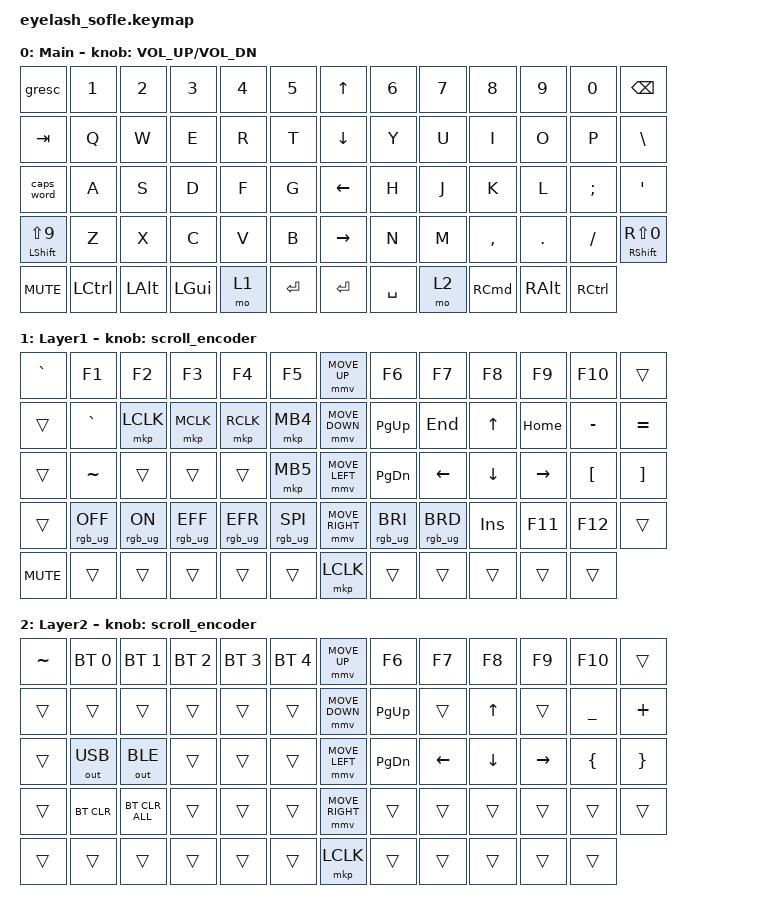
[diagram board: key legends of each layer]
#define ZMK_POINTING_DEFAULT_MOVE_VAL 1200  // 600
#define ZMK_POINTING_DEFAULT_SCRL_VAL 25   // 10

#include <input/processors.dtsi>
#include <zephyr/dt-bindings/input/input-event-codes.h>
#include <behaviors.dtsi>
#include <dt-bindings/zmk/bt.h>
#include <dt-bindings/zmk/keys.h>
#include <dt-bindings/zmk/outputs.h>
#include <dt-bindings/zmk/pointing.h>
#include <dt-bindings/zmk/rgb.h>

&mmv_input_listener { input-processors = <&zip_xy_scaler 2 1>; };

&msc_input_listener { input-processors = <&zip_scroll_scaler 2 1>; };

&msc {
    acceleration-exponent = <1>;      // 0
    time-to-max-speed-ms = <100>;       // 300
    delay-ms = <0>;                   // 0
};

&mmv {
    time-to-max-speed-ms = <500>;
    acceleration-exponent = <1>;
    trigger-period-ms = <16>;
};

/ {
    scroll_encoder: scroll_encoder {
        compatible = "zmk,behavior-sensor-rotate";
        #sensor-binding-cells = <0>;
        bindings = <&msc SCRL_DOWN>, <&msc SCRL_UP>;

        tap-ms = <100>;
    };

    left_meh: left_meh {
        compatible = "zmk,behavior-tap-dance";
        label = "LEFT_MEH";
        #binding-cells = <0>;
        bindings = <&kp LEFT_CONTROL>, <&kp LS(LA(LEFT_CONTROL))>;
    };

    right_meh: right_meh {
        compatible = "zmk,behavior-tap-dance";
        label = "RIGHT_MEH";
        #binding-cells = <0>;
        bindings = <&kp RIGHT_CONTROL>, <&kp RS(RA(RIGHT_CONTROL))>;
    };

    left_hyper: left_hyper {
        compatible = "zmk,behavior-tap-dance";
        label = "LEFT_HYPER";
        #binding-cells = <0>;
        bindings = <&kp LEFT_ALT>, <&kp LS(LG(LC(LEFT_ALT)))>;
    };

    right_hyper: right_hyper {
        compatible = "zmk,behavior-tap-dance";
        label = "RIGHT_HYPER";
        #binding-cells = <0>;
        bindings = <&kp RIGHT_ALT>, <&kp RS(RC(RG(RIGHT_ALT)))>;
    };

    hml: hml {
        compatible = "zmk,behavior-hold-tap";
        label = "HML";
        bindings = <&kp>, <&kp>;

        #binding-cells = <2>;
        flavor = "tap-preferred";
        tapping-term-ms = <280>;
        hold-trigger-on-release;
    };

    hmr: hmr {
        compatible = "zmk,behavior-hold-tap";
        label = "HMR";
        bindings = <&kp>, <&kp>;

        #binding-cells = <2>;
        flavor = "tap-preferred";
        tapping-term-ms = <280>;
        hold-trigger-on-release;
    };

    behaviors {
    };

    keymap {
        compatible = "zmk,keymap";

        Main {
            bindings = <
&gresc            &kp N1     &kp N2        &kp N3        &kp N4  &kp N5     &kp UP_ARROW     &kp N6     &kp N7  &kp N8             &kp N9         &kp N0     &kp BACKSPACE
&kp TAB           &kp Q      &kp W         &kp E         &kp R   &kp T      &kp DOWN_ARROW   &kp Y      &kp U   &kp I              &kp O          &kp P      &kp BSLH
&caps_word        &kp A      &kp S         &kp D         &kp F   &kp G      &kp LEFT_ARROW   &kp H      &kp J   &kp K              &kp L          &kp SEMI   &kp APOS
&mt LSHFT LS(N9)  &kp Z      &kp X         &kp C         &kp V   &kp B      &kp RIGHT_ARROW  &kp N      &kp M   &kp COMMA          &kp DOT        &kp FSLH   &mt RIGHT_SHIFT RS(N0)
&kp C_MUTE        &kp LCTRL  &kp LEFT_ALT  &kp LEFT_GUI  &mo 1   &kp RET    &kp ENTER        &kp SPACE  &mo 2   &kp RIGHT_COMMAND  &kp RIGHT_ALT  &kp RCTRL
            >;

            sensor-bindings = <&inc_dec_kp C_VOLUME_UP C_VOL_DN>;
            display-name = "Main";
        };

        Layer1 {
            bindings = <
&kp GRAVE   &kp F1           &kp F2          &kp F3           &kp F4           &kp F5             &mmv MOVE_UP     &kp F6           &kp F7           &kp F8      &kp F9     &kp F10           &trans
&trans      &kp GRAVE        &mkp LCLK       &mkp MCLK        &mkp RCLK        &mkp MB4           &mmv MOVE_DOWN   &kp PG_UP        &kp END          &kp UP      &kp HOME   &kp MINUS         &kp EQUAL
&trans      &kp TILDE        &trans          &trans           &trans           &mkp MB5           &mmv MOVE_LEFT   &kp PG_DN        &kp LEFT         &kp DOWN    &kp RIGHT  &kp LEFT_BRACKET  &kp RIGHT_BRACKET
&trans      &rgb_ug RGB_OFF  &rgb_ug RGB_ON  &rgb_ug RGB_EFF  &rgb_ug RGB_EFR  &rgb_ug RGB_SPI    &mmv MOVE_RIGHT  &rgb_ug RGB_BRI  &rgb_ug RGB_BRD  &kp INSERT  &kp F11    &kp F12           &trans
&kp C_MUTE  &trans           &trans          &trans           &trans           &trans             &mkp LCLK        &trans           &trans           &trans      &trans     &trans
            >;

            display-name = "Layer1";
            sensor-bindings = <&scroll_encoder>;
        };

        Layer2 {
            bindings = <
&kp TILDE  &bt BT_SEL 0  &bt BT_SEL 1    &bt BT_SEL 2  &bt BT_SEL 3  &bt BT_SEL 4    &mmv MOVE_UP     &kp F6         &kp F7          &kp F8        &kp F9           &kp F10    &trans
&trans     &trans        &trans          &trans        &trans        &trans          &mmv MOVE_DOWN   &kp PG_UP      &trans          &kp UP_ARROW  &trans           &kp UNDER  &kp PLUS
&trans     &out OUT_USB  &out OUT_BLE    &trans        &trans        &trans          &mmv MOVE_LEFT   &kp PAGE_DOWN  &kp LEFT_ARROW  &kp DOWN      &kp RIGHT_ARROW  &kp LBRC   &kp RBRC
&trans     &bt BT_CLR    &bt BT_CLR_ALL  &trans        &trans        &trans          &mmv MOVE_RIGHT  &trans         &trans          &trans        &trans           &trans     &trans
&trans     &trans        &trans          &trans        &trans        &trans          &mkp LCLK        &trans         &trans          &trans        &trans           &trans
            >;

            sensor-bindings = <&scroll_encoder>;
        };
    };
};
